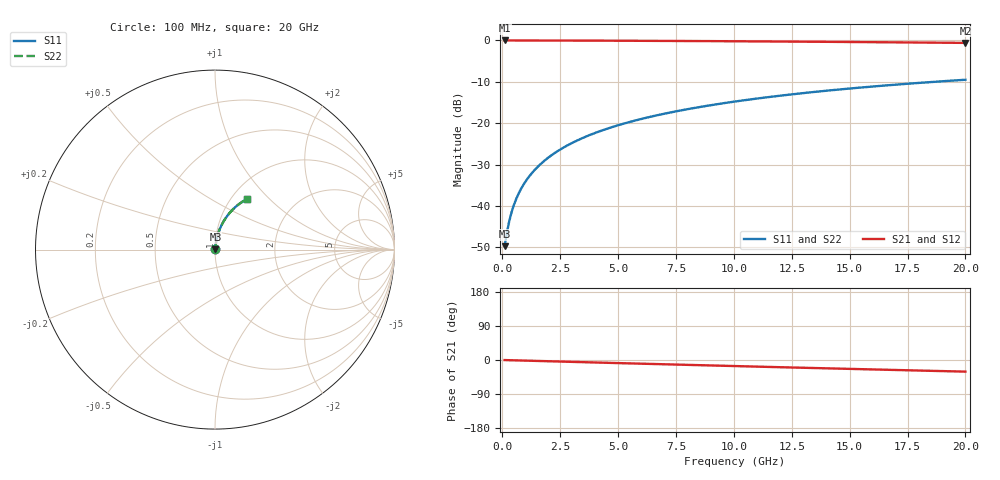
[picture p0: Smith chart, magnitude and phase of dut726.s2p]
! Touchstone file exported from HFSS 2026.1.0
!  File:  C:/ffzhzh/LocalFiles/Ansys_Project_Files/temp_train_TMRDL_726_1783154851_22436.aedt
!  Generated:  04:48:44 PM Jul  4, 2026
!  Design:  TMRDL
!  Project:  temp_train_TMRDL_726_1783154851_22436
! Variables:
!  h_bsmrdl = 2um
!  h_ox = 20um
!  h_rdl = 5um
!  h_sub = 80um
!  h_tmrdl = 5.01um
!  h_tsv = 80um
!  h_via = 3um
!  l_bsmrdl = 300um
!  l_sub = 809.7um
!  l_tmrdl = 409.7um
!  m_sub = 200um
!  pitch = 39.18um
!  r_tsv = 6um
!  s_tmrdl = 10um
!  w_bsmrdl = 18um
!  w_sub = 500um
!  w_tmrdl = 11.51um
!  x_tsv_center1 = 415.455um
!  x_tsv_center2 = 733.455um
!  x_tsv_center3 = 1154.665um
!  x_tsv_center4 = 1472.665um
!  x_tsv_center5 = 1893.875um
!  x_tsv_center6 = 2211.875um
# GHz S MA R 50.000000
! Terminal data exported
! Port[1] = TM_RDL1_1_T1
! Port[2] = TM_RDL1_1_T2
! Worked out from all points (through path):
!   200 points, 100 MHz to 20 GHz, reference 50 ohm
!   highest |S21| = -0.02 dB at 100 MHz (marker M1); lowest = -0.6 dB at 20 GHz (marker M2)
!   group delay of S21, straight-line fit = 4.26 ps
!   lowest |S11| = -49.7 dB at 100 MHz (marker M3), VSWR 1.01, Z = 50.3 + j0.201 ohm
!   |S11| at or under -10 dB: start of sweep to 18.68 GHz
!   |S22| runs from -49.7 to -9.5 dB; largest |S21 - S12| = 2e-15
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0.1  0.003272 37.7  0.9974 -0.2  0.9974 -0.2  0.003272 37.7
! Gamma 0 0 0 0
! Port Impedance 50 0 50 0
0.2  0.004787 56.4  0.9974 -0.3  0.9974 -0.3  0.004787 56.4
0.3  0.006554 65.4  0.9973 -0.5  0.9973 -0.5  0.006554 65.4
0.4  0.008397 70.3  0.9972 -0.7  0.9972 -0.7  0.008397 70.3
0.5  0.01027 73.3  0.9971 -0.8  0.9971 -0.8  0.01027 73.3
0.6  0.01215 75.4  0.9971 -1.0  0.9971 -1.0  0.01215 75.4
0.8  0.01592 77.9  0.997 -1.3  0.997 -1.3  0.01592 77.9
1.1  0.02159 79.9  0.9967 -1.8  0.9967 -1.8  0.02159 79.9
1.5  0.02916 81.1  0.9964 -2.5  0.9964 -2.5  0.02916 81.1
1.8  0.03484 81.5  0.9961 -3.0  0.9961 -3.0  0.03484 81.5
2.1  0.04052 81.6  0.9958 -3.5  0.9958 -3.5  0.04052 81.6
2.7  0.05183 81.4  0.9949 -4.4  0.9949 -4.4  0.05183 81.4
3.5  0.06678 80.6  0.9936 -5.7  0.9936 -5.7  0.06678 80.6
4.2  0.07973 79.8  0.9922 -6.9  0.9922 -6.9  0.07973 79.8
5  0.09436 78.7  0.9905 -8.2  0.9905 -8.2  0.09436 78.7
5.9  0.1106 77.5  0.9882 -9.6  0.9882 -9.6  0.1106 77.5
6.8  0.1266 76.2  0.9858 -11.0  0.9858 -11.0  0.1266 76.2
8.3  0.1528 74.1  0.9814 -13.4  0.9814 -13.4  0.1528 74.1
10.1  0.1834 71.5  0.9754 -16.1  0.9754 -16.1  0.1834 71.5
13.4  0.2372 66.7  0.9627 -21.1  0.9627 -21.1  0.2372 66.7
16.7  0.2877 62.1  0.9481 -26.0  0.9481 -26.0  0.2876 62.1
20  0.3344 57.6  0.9322 -30.7  0.9322 -30.7  0.3344 57.6
